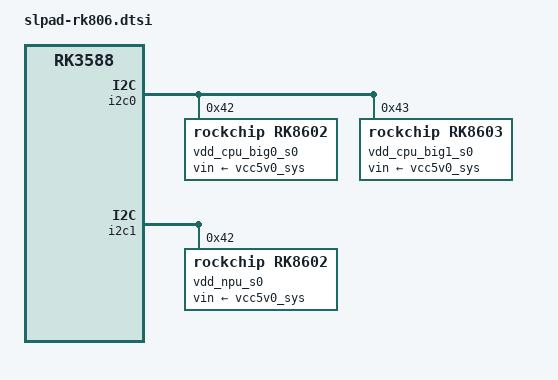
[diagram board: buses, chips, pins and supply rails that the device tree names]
// SPDX-License-Identifier: (GPL-2.0+ OR MIT)
/* Official 6.12 RK806 core, with V115 external regulators and PMIC control pins. */
#include "rk3588-rk806-single.dtsi"

&i2c0 {
	status = "okay";
	pinctrl-0 = <&i2c0m2_xfer>;

	vdd_cpu_big0_s0: vdd_cpu_big0_mem_s0: rk8602@42 {
		compatible = "rockchip,rk8602";
		reg = <0x42>;
		vin-supply = <&vcc5v0_sys>;
		regulator-compatible = "rk860x-reg";
		regulator-name = "vdd_cpu_big0_s0";
		regulator-min-microvolt = <550000>;
		regulator-max-microvolt = <1050000>;
		regulator-ramp-delay = <2300>;
		rockchip,suspend-voltage-selector = <1>;
		regulator-boot-on;
		regulator-always-on;
		regulator-state-mem {
			regulator-off-in-suspend;
		};
	};

	vdd_cpu_big1_s0: vdd_cpu_big1_mem_s0: rk8603@43 {
		compatible = "rockchip,rk8603";
		reg = <0x43>;
		vin-supply = <&vcc5v0_sys>;
		regulator-compatible = "rk860x-reg";
		regulator-name = "vdd_cpu_big1_s0";
		regulator-min-microvolt = <550000>;
		regulator-max-microvolt = <1050000>;
		regulator-ramp-delay = <2300>;
		rockchip,suspend-voltage-selector = <1>;
		regulator-boot-on;
		regulator-always-on;
		regulator-state-mem {
			regulator-off-in-suspend;
		};
	};
};

&i2c1 {
	status = "okay";
	pinctrl-0 = <&i2c1m2_xfer>;

	vdd_npu_s0: vdd_npu_mem_s0: rk8602@42 {
		compatible = "rockchip,rk8602";
		reg = <0x42>;
		vin-supply = <&vcc5v0_sys>;
		regulator-compatible = "rk860x-reg";
		regulator-name = "vdd_npu_s0";
		regulator-min-microvolt = <550000>;
		regulator-max-microvolt = <950000>;
		regulator-ramp-delay = <2300>;
		rockchip,suspend-voltage-selector = <1>;
		regulator-boot-on;
		regulator-always-on;
		regulator-state-mem {
			regulator-off-in-suspend;
		};
	};
};

&rk806single {
 pinctrl-names = "default", "pmic-power-off";
 pinctrl-0 = <&pmic_pins>, <&rk806_dvs1_null>, <&rk806_dvs2_null>, <&rk806_dvs3_null>;
 pinctrl-1 = <&rk806_dvs1_pwrdn>;
		pinctrl_rk806: pinctrl_rk806 {
			gpio-controller;
			#gpio-cells = <2>;

			rk806_dvs1_null: rk806_dvs1_null {
				pins = "gpio_pwrctrl2";
				function = "pin_fun0";
			};

			rk806_dvs1_slp: rk806_dvs1_slp {
				pins = "gpio_pwrctrl1";
				function = "pin_fun1";
			};

			rk806_dvs1_pwrdn: rk806_dvs1_pwrdn {
				pins = "gpio_pwrctrl1";
				function = "pin_fun2";
			};

			rk806_dvs1_rst: rk806_dvs1_rst {
				pins = "gpio_pwrctrl1";
				function = "pin_fun3";
			};

			rk806_dvs2_null: rk806_dvs2_null {
				pins = "gpio_pwrctrl2";
				function = "pin_fun0";
			};

			rk806_dvs2_slp: rk806_dvs2_slp {
				pins = "gpio_pwrctrl2";
				function = "pin_fun1";
			};

			rk806_dvs2_pwrdn: rk806_dvs2_pwrdn {
				pins = "gpio_pwrctrl2";
				function = "pin_fun2";
			};

			rk806_dvs2_rst: rk806_dvs2_rst {
				pins = "gpio_pwrctrl2";
				function = "pin_fun3";
			};

			rk806_dvs2_dvs: rk806_dvs2_dvs {
				pins = "gpio_pwrctrl2";
				function = "pin_fun4";
			};

			rk806_dvs2_gpio: rk806_dvs2_gpio {
				pins = "gpio_pwrctrl2";
				function = "pin_fun5";
			};

			rk806_dvs3_null: rk806_dvs3_null {
				pins = "gpio_pwrctrl3";
				function = "pin_fun0";
			};

			rk806_dvs3_slp: rk806_dvs3_slp {
				pins = "gpio_pwrctrl3";
				function = "pin_fun1";
			};

			rk806_dvs3_pwrdn: rk806_dvs3_pwrdn {
				pins = "gpio_pwrctrl3";
				function = "pin_fun2";
			};

			rk806_dvs3_rst: rk806_dvs3_rst {
				pins = "gpio_pwrctrl3";
				function = "pin_fun3";
			};

			rk806_dvs3_dvs: rk806_dvs3_dvs {
				pins = "gpio_pwrctrl3";
				function = "pin_fun4";
			};

			rk806_dvs3_gpio: rk806_dvs3_gpio {
				pins = "gpio_pwrctrl3";
				function = "pin_fun5";
			};
		};
};
